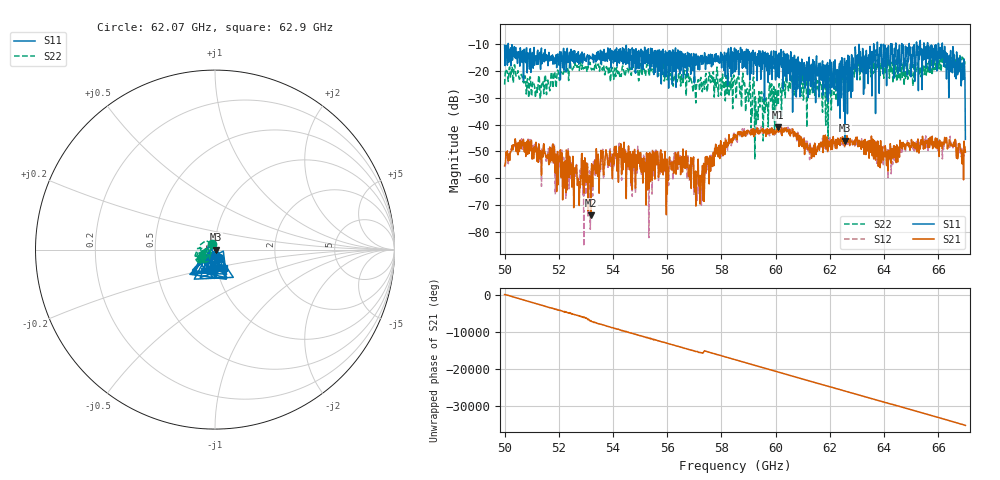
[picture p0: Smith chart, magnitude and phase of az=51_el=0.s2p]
!Created with skrf (http://scikit-rf.org).
# GHz S RI R 50.0
!freq ReS11 ImS11 ReS21 ImS21 ReS12 ImS12 ReS22 ImS22
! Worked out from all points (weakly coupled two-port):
!   1001 points, 50 GHz to 67 GHz, reference 50 ohm
!   highest |S21| = -40.90 dB at 60.1 GHz (marker M1); lowest = -73.9 dB at 53.18 GHz (marker M2)
!   lowest |S11| = -46.0 dB at 62.56 GHz (marker M3), VSWR 1.01, Z = 50.5 + j0.0268 ohm
!   |S11| at or under -10 dB: 50.14 GHz to 63.62 GHz (13.48 GHz wide, 23.7 % of centre); 63.76 GHz to 64.25 GHz (489.8 MHz wide, 0.765 % of centre); 66.15 GHz to end of sweep (the widest 3 of 15)
!   |S22| runs from -53.0 to -14.0 dB; largest |S21 - S12| = 0.0022
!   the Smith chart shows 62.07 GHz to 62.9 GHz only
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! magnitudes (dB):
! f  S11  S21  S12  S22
! 50 GHz  -10.4  -55.3  -55.4  -25.1
! 50.9 GHz  -14.5  -50.8  -49.6  -28.4
! 52.84 GHz  -14.5  -51.2  -52.3  -19.4
! 53.18 GHz  -15.0  -73.9  -63.6  -18.8
! 53.81 GHz  -11.4  -55.0  -56.6  -20.5
! 55.3 GHz  -11.7  -51.0  -51.4  -19.2
! 55.68 GHz  -14.0  -59.7  -60.8  -21.9
! 55.98 GHz  -13.3  -52.9  -54.8  -20.0
! 56.61 GHz  -14.2  -53.8  -54.5  -21.6
! 57.17 GHz  -15.1  -62.9  -65.8  -25.1
! 57.84 GHz  -15.1  -49.1  -50.9  -18.5
! 58.5 GHz  -20.4  -43.7  -43.8  -24.1
! 59.32 GHz  -23.6  -41.7  -42.0  -34.5
! 60.1 GHz  -14.5  -40.9  -42.2  -32.7
! 61.34 GHz  -23.8  -49.0  -48.6  -25.4
! 62 GHz  -15.9  -47.4  -44.9  -25.5
! 62.56 GHz  -46.0  -47.2  -46.6  -19.9
! 63.01 GHz  -23.3  -44.7  -45.8  -19.8
! 64.18 GHz  -17.5  -49.7  -49.5  -18.7
! 66.08 GHz  -15.6  -48.0  -47.6  -15.5
! 66.9 GHz  -17.0  -50.6  -50.5  -15.0
! 67 GHz  -45.5  -50.3  -49.9  -15.6
